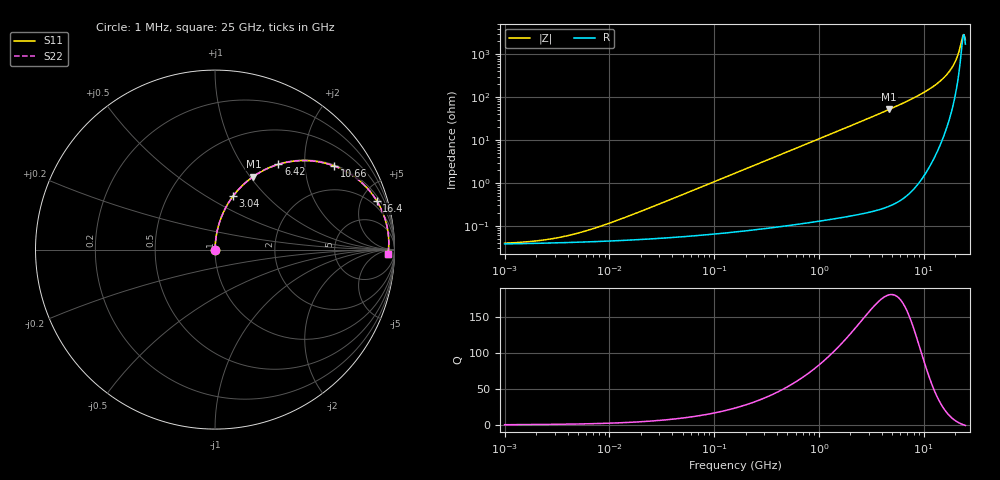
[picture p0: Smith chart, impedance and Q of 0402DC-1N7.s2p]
# MHz  S  MA  R  50
!Freq  MagS11  AngS11  MagS21  AngS21  MagS12  AngS12  MagS22  AngS22
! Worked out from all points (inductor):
!   801 points, 1 MHz to 25 GHz, reference 50 ohm
!   read as one part in series: L = 1.7 nH near 12.93 MHz
!   highest Q = 181 at 4.677 GHz (marker M1), where L = 1.77 nH
!   self-resonance near 24.13 GHz
!   S11 on the Smith chart (normalised r, x): 1 MHz: 1.00, +0.00; 3.04 GHz: 1.00, +0.66; 6.42 GHz: 1.01, +1.48; 10.66 GHz: 1.04, +2.83; 16.4 GHz: 1.36, +6.51; 25 GHz: 36, -26
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1  0.000394 15.7  0.9996 -0.0  0.9996 -0.0  0.000394 15.7
2.489787  0.0004771 33.8  0.9996 -0.0  0.9996 -0.0  0.0004771 33.8
5.461372  0.0007178 54.3  0.9996 -0.0  0.9996 -0.0  0.0007178 54.3
10.82489  0.001239 68.8  0.9996 -0.1  0.9996 -0.1  0.001239 68.8
29.45108  0.003185 80.6  0.9995 -0.2  0.9995 -0.2  0.003185 80.6
158.8184  0.01697 86.6  0.9991 -1.0  0.9991 -1.0  0.01697 86.6
410.7425  0.04381 86.3  0.9981 -2.5  0.9981 -2.5  0.04381 86.3
856.4465  0.09111 84.0  0.9946 -5.2  0.9946 -5.2  0.09111 84.0
1655.074  0.1746 79.4  0.9831 -10.1  0.9831 -10.1  0.1746 79.4
3040.363  0.3128 71.4  0.9478 -18.2  0.9478 -18.2  0.3128 71.4
4677.373  0.4598 62.3  0.8855 -27.4  0.8855 -27.4  0.4598 62.3
6420.344  0.5924 53.3  0.8022 -36.3  0.8022 -36.3  0.5924 53.3
8377.329  0.7107 44.3  0.6979 -45.3  0.6979 -45.3  0.7107 44.3
10657.33  0.812 35.0  0.5733 -54.3  0.5733 -54.3  0.812 35.0
13557.86  0.8955 25.0  0.4222 -63.5  0.4222 -63.5  0.8955 25.0
16395.51  0.9416 16.8  0.2887 -70.1  0.2887 -70.1  0.9416 16.8
18375.75  0.9591 11.8  0.2051 -72.7  0.2051 -72.7  0.9591 11.8
20079.87  0.967 7.9  0.1397 -72.4  0.1397 -72.4  0.967 7.9
21393.03  0.9694 5.2  0.09385 -68.4  0.09385 -68.4  0.9694 5.2
23376.96  0.9684 1.3  0.03914 -35.4  0.03914 -35.4  0.9684 1.3
24282.57  0.9663 -0.3  0.03401 8.1  0.03401 8.1  0.9663 -0.3
25000  0.9641 -1.5  0.04433 35.3  0.04433 35.3  0.9641 -1.5
